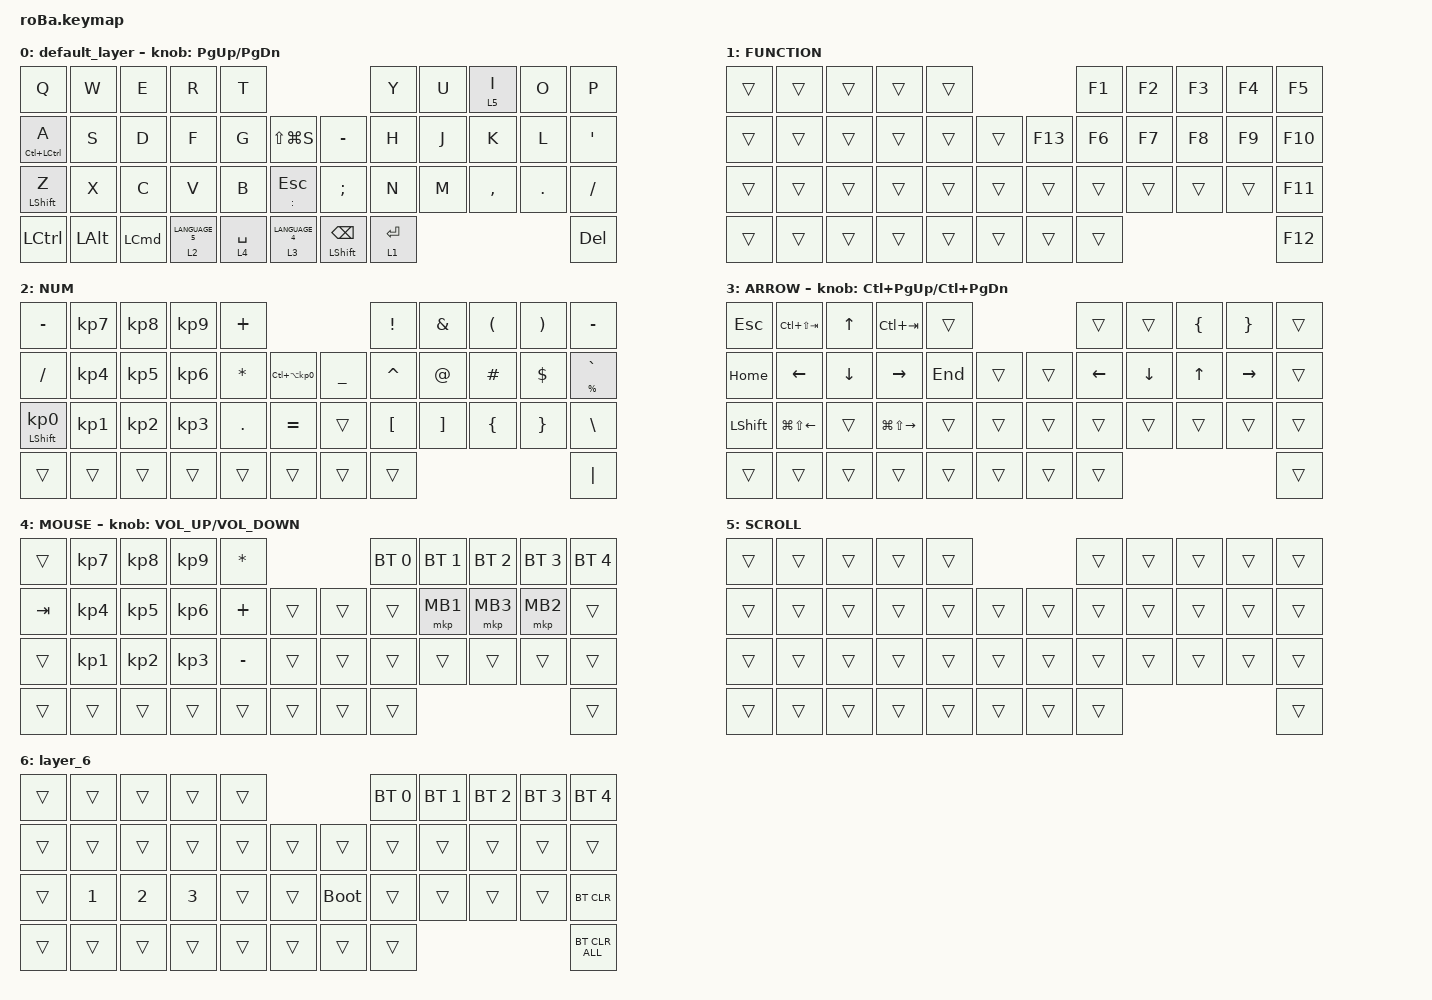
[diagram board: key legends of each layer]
#include <behaviors.dtsi>
#include <dt-bindings/zmk/bt.h>
#include <dt-bindings/zmk/keys.h>
#include <dt-bindings/zmk/pointing.h>

#define MOUSE 4
#define SCROLL 5
#define NUM 6

&mt {
    flavor = "balanced";
    quick-tap-ms = <0>;
};

/ {
    combos {
        compatible = "zmk,combos";

        tab {
            bindings = <&kp TAB>;
            key-positions = <11 12>;
        };

        shift_tab {
            bindings = <&kp LG(TAB)>;
            key-positions = <13 12>;
        };

        muhennkann {
            bindings = <&to_layer_0 INT_MUHENKAN>;
            key-positions = <11 10>;
        };

        double_quotation {
            bindings = <&kp DOUBLE_QUOTES>;
            key-positions = <20 21>;
        };

        eq {
            bindings = <&kp EQUAL>;
            key-positions = <24 25>;
        };
    };

    macros {
        to_layer_0: to_layer_0 {
            compatible = "zmk,behavior-macro-one-param";
            #binding-cells = <1>;
            bindings = <&to 0 &macro_param_1to1 &kp MACRO_PLACEHOLDER>;
            label = "TO_LAYER_0";
        };
    };

    behaviors {
        lt_to_layer_0: lt_to_layer_0 {
            compatible = "zmk,behavior-hold-tap";
            label = "LAYER_TAP_TO_0";
            bindings = <&mo>, <&to_layer_0>;

            #binding-cells = <2>;
            tapping-term-ms = <200>;
        };
    };

    keymap {
        compatible = "zmk,keymap";

        default_layer {
            bindings = <
&kp Q                   &kp W         &kp E             &kp R                        &kp T                                                                   &kp Y        &kp U  &lt 5 I    &kp O    &kp P
&mt LC(LEFT_CONTROL) A  &kp S         &kp D             &kp F                        &kp G        &kp LS(LG(S))                    &kp MINUS                 &kp H        &kp J  &kp K      &kp L    &kp SQT
&mt LEFT_SHIFT Z        &kp X         &kp C             &kp V                        &kp B        &mt COLON ESCAPE                 &kp SEMICOLON             &kp N        &kp M  &kp COMMA  &kp DOT  &kp SLASH
&kp LCTRL               &kp LEFT_ALT  &kp LEFT_COMMAND  &lt_to_layer_0 2 LANGUAGE_5  &lt 4 SPACE  &lt_to_layer_0 3 LANGUAGE_4      &mt LEFT_SHIFT BACKSPACE  &lt 1 ENTER                             &kp DEL
            >;

            sensor-bindings = <&inc_dec_kp PG_UP PAGE_DOWN>;
        };

        FUNCTION {
            bindings = <
&trans  &trans  &trans  &trans  &trans                       &kp F1  &kp F2  &kp F3  &kp F4  &kp F5
&trans  &trans  &trans  &trans  &trans  &trans      &kp F13  &kp F6  &kp F7  &kp F8  &kp F9  &kp F10
&trans  &trans  &trans  &trans  &trans  &trans      &trans   &trans  &trans  &trans  &trans  &kp F11
&trans  &trans  &trans  &trans  &trans  &trans      &trans   &trans                          &kp F12
            >;
        };

        NUM {
            bindings = <
&kp MINUS                   &kp KP_NUMBER_7  &kp KP_NUMBER_8  &kp KP_NUMBER_9  &kp PLUS                                                   &kp EXCLAMATION   &kp AMPERSAND      &kp LEFT_PARENTHESIS  &kp RIGHT_PARENTHESIS  &kp MINUS
&kp SLASH                   &kp KP_NUMBER_4  &kp KP_NUMBER_5  &kp KP_NUMBER_6  &kp ASTERISK  &kp LC(LA(KP_NUMBER_0))      &kp UNDERSCORE  &kp CARET         &kp AT_SIGN        &kp HASH              &kp DOLLAR             &mt PERCENT GRAVE
&mt LEFT_SHIFT KP_NUMBER_0  &kp KP_NUMBER_1  &kp KP_NUMBER_2  &kp KP_NUMBER_3  &kp PERIOD    &kp EQUAL                    &trans          &kp LEFT_BRACKET  &kp RIGHT_BRACKET  &kp LEFT_BRACE        &kp RIGHT_BRACE        &kp BACKSLASH
&trans                      &trans           &trans           &trans           &trans        &trans                       &trans          &trans                                                                            &kp PIPE
            >;
        };

        ARROW {
            bindings = <
&kp ESCAPE      &kp LC(LS(TAB))         &kp UP_ARROW    &kp LC(TAB)              &trans                       &trans          &trans          &kp LEFT_BRACE  &kp RIGHT_BRACE  &trans
&kp HOME        &kp LEFT_ARROW          &kp DOWN_ARROW  &kp RIGHT_ARROW          &kp END  &trans      &trans  &kp LEFT_ARROW  &kp DOWN_ARROW  &kp UP_ARROW    &kp RIGHT_ARROW  &trans
&kp LEFT_SHIFT  &kp LG(LS(LEFT_ARROW))  &trans          &kp LG(LS(RIGHT_ARROW))  &trans   &trans      &trans  &trans          &trans          &trans          &trans           &trans
&trans          &trans                  &trans          &trans                   &trans   &trans      &trans  &trans                                                           &trans
            >;

            sensor-bindings = <&inc_dec_kp LC(PAGE_UP) LC(PAGE_DOWN)>;
        };

        MOUSE {
            bindings = <
&trans   &kp KP_NUMBER_7  &kp KP_NUMBER_8  &kp KP_NUMBER_9  &kp ASTERISK                      &bt BT_SEL 0  &bt BT_SEL 1  &bt BT_SEL 2  &bt BT_SEL 3  &bt BT_SEL 4
&kp TAB  &kp KP_NUMBER_4  &kp KP_NUMBER_5  &kp KP_NUMBER_6  &kp PLUS      &trans      &trans  &trans        &mkp MB1      &mkp MB3      &mkp MB2      &trans
&trans   &kp KP_NUMBER_1  &kp KP_NUMBER_2  &kp KP_NUMBER_3  &kp MINUS     &trans      &trans  &trans        &trans        &trans        &trans        &trans
&trans   &trans           &trans           &trans           &trans        &trans      &trans  &trans                                                  &trans
            >;

            sensor-bindings = <&inc_dec_kp C_VOLUME_UP C_VOLUME_DOWN>;
        };

        SCROLL {
            bindings = <
&trans  &trans  &trans  &trans  &trans                      &trans  &trans  &trans  &trans  &trans
&trans  &trans  &trans  &trans  &trans  &trans      &trans  &trans  &trans  &trans  &trans  &trans
&trans  &trans  &trans  &trans  &trans  &trans      &trans  &trans  &trans  &trans  &trans  &trans
&trans  &trans  &trans  &trans  &trans  &trans      &trans  &trans                          &trans
            >;
        };

        layer_6 {
            bindings = <
&trans  &trans        &trans        &trans        &trans                           &bt BT_SEL 0  &bt BT_SEL 1  &bt BT_SEL 2  &bt BT_SEL 3  &bt BT_SEL 4
&trans  &trans        &trans        &trans        &trans  &trans      &trans       &trans        &trans        &trans        &trans        &trans
&trans  &kp NUMBER_1  &kp NUMBER_2  &kp NUMBER_3  &trans  &trans      &bootloader  &trans        &trans        &trans        &trans        &bt BT_CLR
&trans  &trans        &trans        &trans        &trans  &trans      &trans       &trans                                                  &bt BT_CLR_ALL
            >;
        };
    };
};
